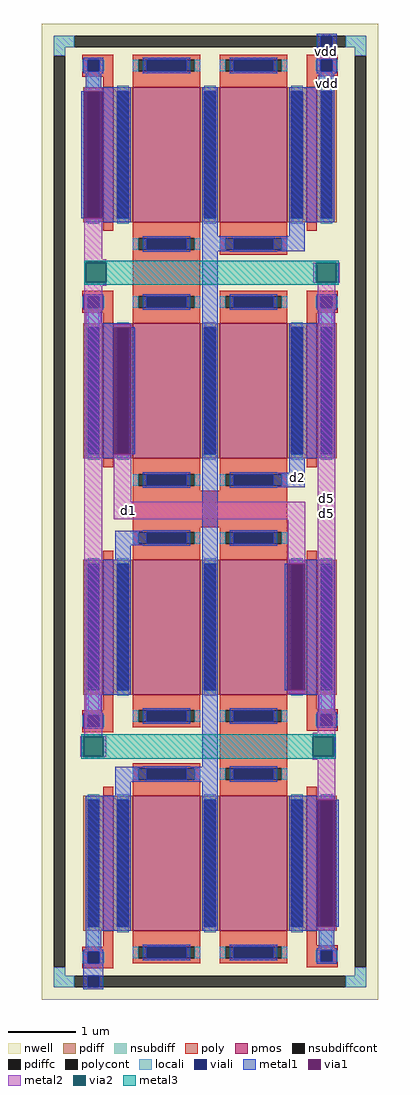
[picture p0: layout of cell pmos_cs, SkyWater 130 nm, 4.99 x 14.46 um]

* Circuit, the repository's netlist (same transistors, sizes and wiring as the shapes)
** sch_path: /home/ahmadjabar/project/opamp/mag/pmos_cs.sch
.subckt pmos_cs vdd d5 d1 d2
*.PININFO vdd:B d1:B d2:B d5:B
XM1 d1 d2 vdd vdd sky130_fd_pr__pfet_01v8 L=1 W=2 nf=1 m=2
XM2 d2 d2 vdd vdd sky130_fd_pr__pfet_01v8 L=1 W=2 nf=1 m=2
XM5 d5 d2 vdd vdd sky130_fd_pr__pfet_01v8 L=1 W=2 nf=1 m=2
XM3 vdd vdd vdd vdd sky130_fd_pr__pfet_01v8 L=1 W=2 nf=1 m=2
XM4 vdd vdd vdd vdd sky130_fd_pr__pfet_01v8 L=0.15 W=2 nf=1 m=2
XM6 d1 d1 d1 vdd sky130_fd_pr__pfet_01v8 L=0.15 W=2 nf=1 m=2
XM7 d2 d2 d2 vdd sky130_fd_pr__pfet_01v8 L=0.15 W=2 nf=1 m=2
XM8 d5 d5 d5 vdd sky130_fd_pr__pfet_01v8 L=0.15 W=2 nf=1 m=2
.ends
.end

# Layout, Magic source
magic
tech sky130A
magscale 1 2
<< nwell >>
rect -176 -104 822 2789
<< nsubdiff >>
rect -140 2719 -80 2753
rect 726 2719 786 2753
rect -140 2693 -106 2719
rect 752 2693 786 2719
rect -140 -34 -106 -8
rect 752 -34 786 -8
rect -140 -68 -80 -34
rect 726 -68 786 -34
<< nsubdiffcont >>
rect -80 2719 726 2753
rect -140 -8 -106 2693
rect 752 -8 786 2693
rect -80 -68 726 -34
<< poly >>
rect -56 2681 36 2697
rect -56 2647 -40 2681
rect -6 2647 36 2681
rect -56 2631 36 2647
rect 6 2626 36 2631
rect 610 2681 702 2697
rect 610 2647 652 2681
rect 686 2647 702 2681
rect 610 2632 702 2647
rect 610 2626 640 2632
rect -56 1981 36 1997
rect 94 1996 294 2104
rect -56 1947 -40 1981
rect -6 1947 36 1981
rect -56 1931 36 1947
rect 6 1926 36 1931
rect 610 1981 702 1997
rect 610 1947 652 1981
rect 686 1947 702 1981
rect 610 1932 702 1947
rect 610 1926 640 1932
rect 94 1296 552 1404
rect 6 753 36 782
rect -56 738 36 753
rect -56 704 -40 738
rect -6 704 36 738
rect 610 757 640 775
rect 610 742 702 757
rect 610 708 652 742
rect 686 708 702 742
rect -56 688 36 704
rect 352 596 552 704
rect 610 692 702 708
rect 6 53 36 78
rect -56 38 36 53
rect -56 4 -40 38
rect -6 4 36 38
rect -56 -12 36 4
rect 610 57 640 75
rect 610 42 702 57
rect 610 8 652 42
rect 686 8 702 42
rect 610 -8 702 8
<< polycont >>
rect -40 2647 -6 2681
rect 652 2647 686 2681
rect -40 1947 -6 1981
rect 652 1947 686 1981
rect -40 704 -6 738
rect 652 708 686 742
rect -40 4 -6 38
rect 652 8 686 42
<< locali >>
rect -140 2719 -80 2753
rect 726 2719 786 2753
rect -140 2693 -106 2719
rect 752 2693 786 2719
rect -56 2647 -40 2681
rect -6 2647 10 2681
rect 636 2647 652 2681
rect 686 2647 702 2681
rect -40 2604 -6 2647
rect 652 2604 686 2647
rect -56 1947 -40 1981
rect -6 1947 10 1981
rect 636 1947 652 1981
rect 686 1947 702 1981
rect -40 1904 -6 1947
rect 652 1904 686 1947
rect -40 738 -6 800
rect 652 742 686 796
rect -56 704 -40 738
rect -6 704 10 738
rect 636 708 652 742
rect 686 708 702 742
rect -40 38 -6 102
rect 652 42 686 98
rect -56 4 -40 38
rect -6 4 10 38
rect 636 8 652 42
rect 686 8 702 42
rect -140 -34 -106 -8
rect 752 -34 786 -8
rect -140 -68 -80 -34
rect 726 -68 786 -34
<< viali >>
rect 652 2719 686 2753
rect -40 2647 -6 2681
rect 652 2647 686 2681
rect -40 1947 -6 1981
rect 652 1947 686 1981
rect -40 704 -6 738
rect 652 708 686 742
rect -40 4 -6 38
rect 652 8 686 42
rect -40 -68 -6 -34
<< metal1 >>
rect 640 2753 698 2759
rect 640 2719 652 2753
rect 686 2719 698 2753
rect -52 2681 6 2687
rect -52 2647 -40 2681
rect -6 2647 6 2681
rect -52 2641 6 2647
rect 640 2681 698 2719
rect 640 2647 652 2681
rect 686 2647 698 2681
rect 640 2641 698 2647
rect -46 2600 0 2641
rect 646 2600 692 2641
rect -46 2588 88 2600
rect -59 2212 -49 2588
rect 3 2212 88 2588
rect -46 2200 88 2212
rect 300 2158 346 2600
rect 558 2200 692 2600
rect 558 2158 604 2200
rect 300 2114 382 2158
rect 522 2114 604 2158
rect -52 1981 6 1987
rect -52 1947 -40 1981
rect -6 1947 6 1981
rect -52 1941 6 1947
rect -46 1900 0 1941
rect -46 1888 88 1900
rect -46 1512 38 1888
rect 90 1512 100 1888
rect -46 1500 88 1512
rect 42 1242 124 1286
rect 42 1200 88 1242
rect -46 800 88 1200
rect -46 744 0 800
rect -52 738 6 744
rect -52 704 -40 738
rect -6 704 6 738
rect -52 698 6 704
rect 300 586 346 2114
rect 640 1981 698 1987
rect 640 1947 652 1981
rect 686 1947 698 1981
rect 640 1941 698 1947
rect 646 1900 692 1941
rect 558 1500 692 1900
rect 558 1458 604 1500
rect 522 1414 604 1458
rect 558 1188 692 1200
rect 544 812 554 1188
rect 606 812 692 1188
rect 558 800 692 812
rect 646 748 692 800
rect 640 742 698 748
rect 640 708 652 742
rect 686 708 698 742
rect 640 702 698 708
rect 42 542 124 586
rect 264 542 346 586
rect 42 500 88 542
rect -46 100 88 500
rect 300 100 346 542
rect 558 488 692 500
rect 558 112 642 488
rect 694 112 704 488
rect 558 100 692 112
rect -46 44 0 100
rect 646 48 692 100
rect -52 38 6 44
rect -52 4 -40 38
rect -6 4 6 38
rect -52 -34 6 4
rect 640 42 698 48
rect 640 8 652 42
rect 686 8 698 42
rect 640 2 698 8
rect -52 -68 -40 -34
rect -6 -68 6 -34
rect -52 -74 6 -68
<< via1 >>
rect -49 2212 3 2588
rect 38 1512 90 1888
rect 554 812 606 1188
rect 642 112 694 488
<< metal2 >>
rect -49 2588 3 2598
rect -49 2090 3 2212
rect -49 2081 16 2090
rect -49 2020 -45 2081
rect 629 2020 638 2080
rect 698 2020 707 2080
rect -49 2011 16 2020
rect -49 676 3 2011
rect 38 1888 90 1898
rect 38 1372 90 1512
rect 38 1320 606 1372
rect 554 1188 606 1320
rect 554 802 606 812
rect 642 686 694 2020
rect 628 677 694 686
rect -62 616 -53 676
rect 7 616 16 676
rect 690 615 694 677
rect 628 606 694 615
rect 642 488 694 606
rect 642 102 694 112
<< via2 >>
rect -45 2020 16 2081
rect 638 2020 698 2080
rect -53 616 7 676
rect 628 615 690 677
<< metal3 >>
rect -50 2081 704 2086
rect -50 2020 -45 2081
rect 16 2080 704 2081
rect 16 2020 638 2080
rect 698 2020 704 2080
rect -50 2015 704 2020
rect -59 677 695 682
rect -59 676 628 677
rect -59 616 -53 676
rect 7 616 628 676
rect -59 615 628 616
rect 690 615 695 677
rect -59 610 695 615
use sky130_fd_pr__pfet_01v8_2ZH9AN  sky130_fd_pr__pfet_01v8_2ZH9AN_0
transform 1 0 625 0 1 300
box -109 -262 109 262
use sky130_fd_pr__pfet_01v8_2ZH9AN  sky130_fd_pr__pfet_01v8_2ZH9AN_1
transform 1 0 21 0 1 300
box -109 -262 109 262
use sky130_fd_pr__pfet_01v8_2ZH9AN  sky130_fd_pr__pfet_01v8_2ZH9AN_2
transform 1 0 21 0 1 2400
box -109 -262 109 262
use sky130_fd_pr__pfet_01v8_2ZH9AN  sky130_fd_pr__pfet_01v8_2ZH9AN_3
transform 1 0 21 0 1 1700
box -109 -262 109 262
use sky130_fd_pr__pfet_01v8_2ZH9AN  sky130_fd_pr__pfet_01v8_2ZH9AN_4
transform 1 0 21 0 1 1000
box -109 -262 109 262
use sky130_fd_pr__pfet_01v8_2ZH9AN  sky130_fd_pr__pfet_01v8_2ZH9AN_5
transform 1 0 625 0 1 2400
box -109 -262 109 262
use sky130_fd_pr__pfet_01v8_2ZH9AN  sky130_fd_pr__pfet_01v8_2ZH9AN_6
transform 1 0 625 0 1 1700
box -109 -262 109 262
use sky130_fd_pr__pfet_01v8_2ZH9AN  sky130_fd_pr__pfet_01v8_2ZH9AN_7
transform 1 0 625 0 1 1000
box -109 -262 109 262
use sky130_fd_pr__pfet_01v8_SDE6B7  sky130_fd_pr__pfet_01v8_SDE6B7_0
transform 1 0 323 0 1 300
box -323 -300 323 300
use sky130_fd_pr__pfet_01v8_SDE6B7  sky130_fd_pr__pfet_01v8_SDE6B7_1
transform 1 0 323 0 1 1000
box -323 -300 323 300
use sky130_fd_pr__pfet_01v8_SDE6B7  sky130_fd_pr__pfet_01v8_SDE6B7_2
transform 1 0 323 0 1 1700
box -323 -300 323 300
use sky130_fd_pr__pfet_01v8_SDE6B7  sky130_fd_pr__pfet_01v8_SDE6B7_3
transform 1 0 323 0 1 2400
box -323 -300 323 300
<< labels >>
flabel metal1 669 2707 669 2707 0 FreeSans 160 0 0 0 vdd
port 1 nsew
flabel metal2 81 1344 81 1344 0 FreeSans 160 0 0 0 d1
port 2 nsew
flabel metal1 581 1442 581 1442 0 FreeSans 160 0 0 0 d2
port 3 nsew
flabel metal2 669 1381 669 1381 0 FreeSans 160 0 0 0 d5
port 4 nsew
flabel metal2 68 1380 68 1380 0 FreeSans 160 0 0 0 d1
flabel metal1 584 1468 584 1468 0 FreeSans 160 0 0 0 d2
flabel metal2 668 1336 668 1336 0 FreeSans 160 0 0 0 d5
flabel metal1 672 2610 672 2610 0 FreeSans 160 0 0 0 vdd
<< end >>

# cell sky130_fd_pr__pfet_01v8_2ZH9AN: kit device sky130_fd_pr__pfet_01v8, w 2 l 0.15 m 1 nf 1 diffcov 100 polycov 100 guard 0 glc 1 grc 1 gtc 1 gbc 1 tbcov 100 rlcov 100 topc 0 botc 0 poverlap 0 doverlap 1 lmin 0.15 wmin 0.42 compatible {sky130_fd_pr__pfet_01v8 sky130_fd_pr__pfet_01v8_lvt sky130_fd_pr__pfet_01v8_hvt sky130_fd_pr__pfet_g5v0d10v5} full_metal 1 viasrc 100 viadrn 100 viagate 100 viagb 0 viagr 0 viagl 0 viagt 0

# cell sky130_fd_pr__pfet_01v8_SDE6B7: kit device sky130_fd_pr__pfet_01v8, w 2 l 1 m 1 nf 2 diffcov 100 polycov 100 guard 0 glc 1 grc 1 gtc 1 gbc 1 tbcov 100 rlcov 100 topc 1 botc 1 poverlap 0 doverlap 1 lmin 0.15 wmin 0.42 compatible {sky130_fd_pr__pfet_01v8 sky130_fd_pr__pfet_01v8_lvt sky130_fd_pr__pfet_01v8_hvt sky130_fd_pr__pfet_g5v0d10v5} full_metal 1 viasrc 100 viadrn 100 viagate 70 viagb 0 viagr 0 viagl 0 viagt 0
